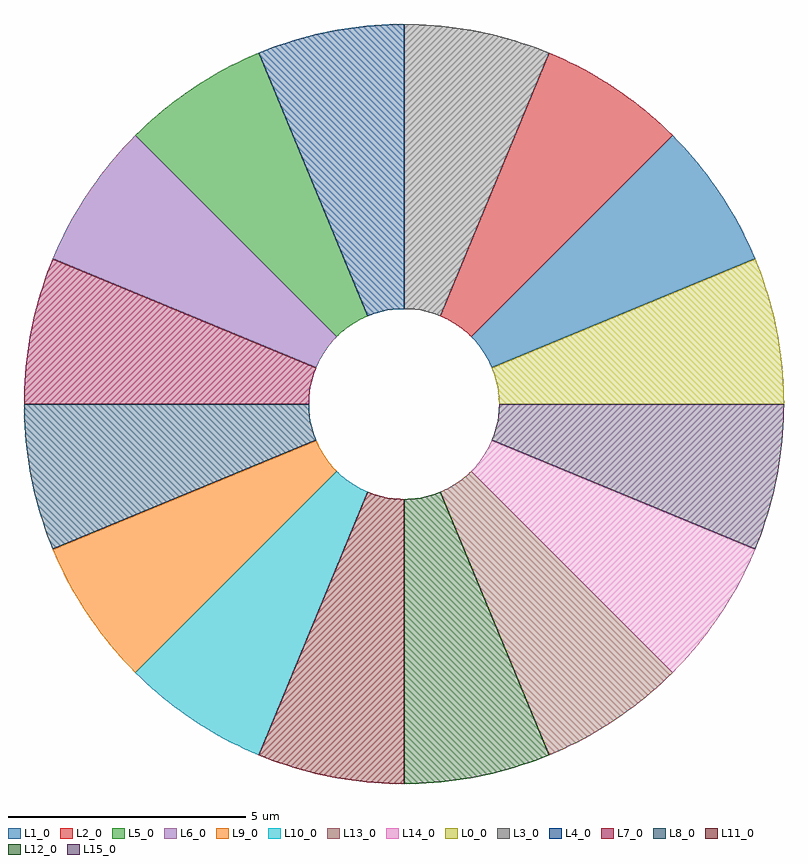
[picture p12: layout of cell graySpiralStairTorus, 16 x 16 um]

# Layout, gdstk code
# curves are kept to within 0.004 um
import gdstk
lib = gdstk.Library(unit=1e-6, precision=1e-09)
def P(c, l, *ps):  # polygons
    for p in ps: c.add(gdstk.Polygon(p, *l))
L0_0 = (0, 0)
L1_0 = (1, 0)
L2_0 = (2, 0)
L3_0 = (3, 0)
L4_0 = (4, 0)
L5_0 = (5, 0)
L6_0 = (6, 0)
L7_0 = (7, 0)
L8_0 = (8, 0)
L9_0 = (9, 0)
L10_0 = (10, 0)
L11_0 = (11, 0)
L12_0 = (12, 0)
L13_0 = (13, 0)
L14_0 = (14, 0)
L15_0 = (15, 0)

grayspiralstairtorus = lib.new_cell('graySpiralStairTorus')
P(grayspiralstairtorus, L0_0, [(2,0),(1.994,0.157),(1.962,0.39),(1.914,0.581),(1.848,0.765),(7.391,3.061),(7.506,2.769),(7.656,2.322),(7.779,1.868),(7.846,1.561),(7.925,1.096),(7.961,0.784),(7.994,0.314),(8,0)])
P(grayspiralstairtorus, L1_0, [(1.848,0.765),(1.764,0.943),(1.641,1.144),(1.521,1.299),(1.414,1.414),(5.657,5.657),(5.875,5.43),(6.184,5.075),(6.379,4.828),(6.652,4.445),(6.902,4.045),(7.055,3.771),(7.198,3.491),(7.391,3.061)])
P(grayspiralstairtorus, L2_0, [(1.414,1.414),(1.299,1.521),(1.144,1.641),(0.943,1.764),(0.765,1.848),(3.061,7.391),(3.491,7.198),(3.771,7.055),(4.045,6.902),(4.445,6.652),(4.828,6.379),(5.075,6.184),(5.43,5.875),(5.657,5.657)])
P(grayspiralstairtorus, L3_0, [(0.765,1.848),(0.581,1.914),(0.39,1.962),(0.157,1.994),(0,2),(0,8),(0.314,7.994),(0.784,7.961),(1.096,7.925),(1.561,7.846),(1.868,7.779),(2.322,7.656),(2.769,7.506),(3.061,7.391)])
P(grayspiralstairtorus, L4_0, [(-0.765,1.848),(-3.061,7.391),(-2.769,7.506),(-2.322,7.656),(-1.868,7.779),(-1.561,7.846),(-1.096,7.925),(-0.784,7.961),(-0.314,7.994),(0,8),(0,2),(-0.157,1.994),(-0.39,1.962),(-0.581,1.914)])
P(grayspiralstairtorus, L5_0, [(-1.414,1.414),(-5.657,5.657),(-5.43,5.875),(-5.075,6.184),(-4.828,6.379),(-4.445,6.652),(-4.045,6.902),(-3.771,7.055),(-3.491,7.198),(-3.061,7.391),(-0.765,1.848),(-0.943,1.764),(-1.144,1.641),(-1.299,1.521)])
P(grayspiralstairtorus, L6_0, [(-1.848,0.765),(-7.391,3.061),(-7.198,3.491),(-7.055,3.771),(-6.902,4.045),(-6.652,4.445),(-6.379,4.828),(-6.184,5.075),(-5.875,5.43),(-5.657,5.657),(-1.414,1.414),(-1.521,1.299),(-1.641,1.144),(-1.764,0.943)])
P(grayspiralstairtorus, L7_0, [(-2,0),(-8,0),(-7.994,0.314),(-7.961,0.784),(-7.925,1.096),(-7.846,1.561),(-7.779,1.868),(-7.656,2.322),(-7.506,2.769),(-7.391,3.061),(-1.848,0.765),(-1.914,0.581),(-1.962,0.39),(-1.994,0.157)])
P(grayspiralstairtorus, L8_0, [(-7.391,-3.061),(-7.506,-2.769),(-7.656,-2.322),(-7.779,-1.868),(-7.846,-1.561),(-7.925,-1.096),(-7.961,-0.784),(-7.994,-0.314),(-8,0),(-2,0),(-1.994,-0.157),(-1.962,-0.39),(-1.914,-0.581),(-1.848,-0.765)])
P(grayspiralstairtorus, L9_0, [(-5.657,-5.657),(-5.875,-5.43),(-6.184,-5.075),(-6.379,-4.828),(-6.652,-4.445),(-6.902,-4.045),(-7.055,-3.771),(-7.198,-3.491),(-7.391,-3.061),(-1.848,-0.765),(-1.764,-0.943),(-1.641,-1.144),(-1.521,-1.299),(-1.414,-1.414)])
P(grayspiralstairtorus, L10_0, [(-3.061,-7.391),(-3.491,-7.198),(-3.771,-7.055),(-4.045,-6.902),(-4.445,-6.652),(-4.828,-6.379),(-5.075,-6.184),(-5.43,-5.875),(-5.657,-5.657),(-1.414,-1.414),(-1.299,-1.521),(-1.144,-1.641),(-0.943,-1.764),(-0.765,-1.848)])
P(grayspiralstairtorus, L11_0, [(0,-8),(-0.314,-7.994),(-0.784,-7.961),(-1.096,-7.925),(-1.561,-7.846),(-1.868,-7.779),(-2.322,-7.656),(-2.769,-7.506),(-3.061,-7.391),(-0.765,-1.848),(-0.581,-1.914),(-0.39,-1.962),(-0.157,-1.994),(0,-2)])
P(grayspiralstairtorus, L12_0, [(0,-8),(0,-2),(0.157,-1.994),(0.39,-1.962),(0.581,-1.914),(0.765,-1.848),(3.061,-7.391),(2.769,-7.506),(2.322,-7.656),(1.868,-7.779),(1.561,-7.846),(1.096,-7.925),(0.784,-7.961),(0.314,-7.994)])
P(grayspiralstairtorus, L13_0, [(3.061,-7.391),(0.765,-1.848),(0.943,-1.764),(1.144,-1.641),(1.299,-1.521),(1.414,-1.414),(5.657,-5.657),(5.43,-5.875),(5.075,-6.184),(4.828,-6.379),(4.445,-6.652),(4.045,-6.902),(3.771,-7.055),(3.491,-7.198)])
P(grayspiralstairtorus, L14_0, [(5.657,-5.657),(1.414,-1.414),(1.521,-1.299),(1.641,-1.144),(1.764,-0.943),(1.848,-0.765),(7.391,-3.061),(7.198,-3.491),(7.055,-3.771),(6.902,-4.045),(6.652,-4.445),(6.379,-4.828),(6.184,-5.075),(5.875,-5.43)])
P(grayspiralstairtorus, L15_0, [(7.391,-3.061),(1.848,-0.765),(1.914,-0.581),(1.962,-0.39),(1.994,-0.157),(2,0),(8,0),(7.994,-0.314),(7.961,-0.784),(7.925,-1.096),(7.846,-1.561),(7.779,-1.868),(7.656,-2.322),(7.506,-2.769)])

lib.write_gds('graySpiralStairTorus.gds')
